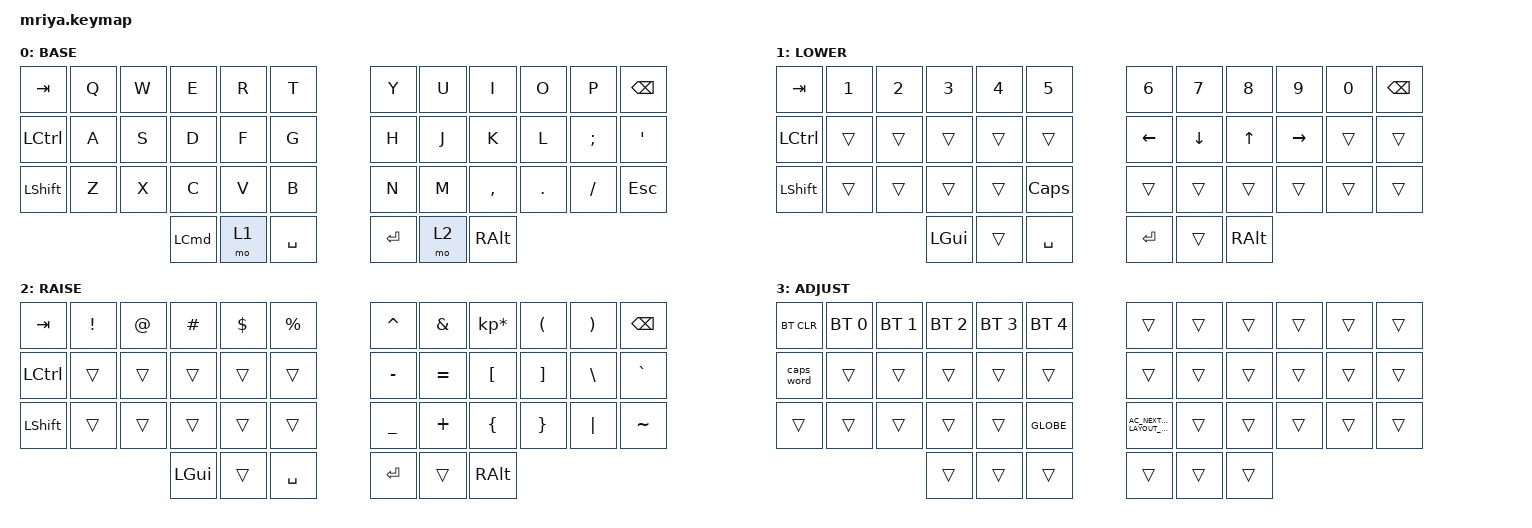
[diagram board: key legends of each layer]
/*
 * Copyright (c) 2020 The ZMK Contributors
 *
 * SPDX-License-Identifier: MIT
 */

#include <behaviors.dtsi>
#include <dt-bindings/zmk/bt.h>
#include <dt-bindings/zmk/keys.h>

#define BASE   0
#define LOWER  1
#define RAISE  2
#define ADJUST 3
#define NAVI   4

/ {
};

/ {
    combos { compatible = "zmk,combos"; };
};

/ {
    keymap {
        compatible = "zmk,keymap";

        // ▄▄▄▄▄▄▄▄▄▄▄▄▄▄▄▄▄▄▄▄▄▄▄▄▄▄▄▄▄▄▄▄▄▄▄▄▄▄▄▄▄▄▄▄▄▄▄▄▄▄▄▄▄▄▄▄▄▄▄▄▄▄▄▄▄▄▄▄▄▄▄▄▄▄▄▄▄▄▄▄▄▄▄▄▄▄▄▄▄▄▄▄▄▄▄▄▄▄▄▄▄▄▄▄▄▄▄▄▄▄▄▄▄▄

        base_layer {
            // ┌────────────────────────────────────────────┐

            label = "BASE";

            // └────────────────────────────────────────────┘
            /*
┌───────┬───────┬───────┬───────┬───────┬───────┐                   ┌───────┬───────┬───────┬───────┬───────┬───────┐
│   ]   │   Q   │   W   │   E   │   R   │   T   │                   │   Y   │   U   │   I   │   O   │   P   │   [   │
├───────┼───────┼───────┼───────┼───────┼───────┤                   ├───────┼───────┼───────┼───────┼───────┼───────┤                      
│   `   │   A   │   S   │   D   │   F   │   G   │                   │   H   │   J   │   K   │   L   │   ;   │   '   │
├───────┼───────┼───────┼───────┼───────┼───────┤                   ├───────┼───────┼───────┼───────┼───────┼───────┤
│   \   │ Z/NAV │   X   │   C   │   V   │   B   │                   │   N   │   M   │   ,   │   .   │   /   │   -   │
└───────┴───────┴───────┴───────┼───────┼───────┼───────┐   ┌───────┼───────┼───────┼───────┴───────┴───────┴───────┘
                                │ RAISE │ SPACE │ LOWER │   │ LOWER │  BKSP │ RAISE │
                                └───────┴───────┴───────┘   └───────┴───────┴───────┘   
*/

            bindings = <
&kp TAB         &kp Q  &kp W  &kp E  &kp R             &kp T                        &kp Y  &kp U          &kp I      &kp O    &kp P          &kp BACKSPACE
&kp LCTRL       &kp A  &kp S  &kp D  &kp F             &kp G                        &kp H  &kp J          &kp K      &kp L    &kp SEMICOLON  &kp SQT
&kp LEFT_SHIFT  &kp Z  &kp X  &kp C  &kp V             &kp B                        &kp N  &kp M          &kp COMMA  &kp DOT  &kp FSLH       &kp ESCAPE
                                     &kp LEFT_COMMAND  &mo 1  &kp SPACE  &kp ENTER  &mo 2  &kp RIGHT_ALT
            >;
        };

        // ▄▄▄▄▄▄▄▄▄▄▄▄▄▄▄▄▄▄▄▄▄▄▄▄▄▄▄▄▄▄▄▄▄▄▄▄▄▄▄▄▄▄▄▄▄▄▄▄▄▄▄▄▄▄▄▄▄▄▄▄▄▄▄▄▄▄▄▄▄▄▄▄▄▄▄▄▄▄▄▄▄▄▄▄▄▄▄▄▄▄▄▄▄▄▄▄▄▄▄▄▄▄▄▄▄▄▄▄▄▄▄▄▄▄

        lower_layer {
            // ┌────────────────────────────────────────────┐

            label = "LOWER";

            // └────────────────────────────────────────────┘
            /*
┌───────┬───────┬───────┬───────┬───────┬───────┐                   ┌───────┬───────┬───────┬───────┬───────┬───────┐
│ CAPS  │  F10  │  F9   │  F8   │  F7   │   ~   │                   │   !   │   @   │   #   │   $   │   %   │ RGUI  │
├───────┼───────┼───────┼───────┼───────┼───────┤                   ├───────┼───────┼───────┼───────┼───────┼───────┤                      
│ CTRL  │  F11  │  F3   │  F2   │  F1   │ MENU  │                   │   :   │   ?   │   *   │   (   │   )   │   &   │
├───────┼───────┼───────┼───────┼───────┼───────┤                   ├───────┼───────┼───────┼───────┼───────┼───────┤
│ LALT  │  F12  │  F6   │  F5   │  F4   │ LANG  │                   │   \   │   «   │   »   │   {   │   }   │   ^   │
└───────┴───────┴───────┴───────┼───────┼───────┼───────┐   ┌───────┼───────┼───────┼───────┴───────┴───────┴───────┘
                                │  ADJ  │ LSHFT │   ▼   │   │   ▼   │ RSHFT │  ADJ  │
                                └───────┴───────┴───────┘   └───────┴───────┴───────┘   
*/

            bindings = <
&kp TAB         &kp NUMBER_1  &kp NUMBER_2  &kp NUMBER_3  &kp NUMBER_4  &kp NUMBER_5                        &kp NUMBER_6    &kp NUMBER_7    &kp NUMBER_8  &kp NUMBER_9     &kp NUMBER_0  &kp BACKSPACE
&kp LCTRL       &trans        &trans        &trans        &trans        &trans                              &kp LEFT_ARROW  &kp DOWN_ARROW  &kp UP_ARROW  &kp RIGHT_ARROW  &trans        &trans
&kp LEFT_SHIFT  &trans        &trans        &trans        &trans        &kp CAPSLOCK                        &trans          &trans          &trans        &trans           &trans        &trans
                                                          &kp LEFT_GUI  &trans        &kp SPACE  &kp ENTER  &trans          &kp RIGHT_ALT
            >;
        };

        // ▄▄▄▄▄▄▄▄▄▄▄▄▄▄▄▄▄▄▄▄▄▄▄▄▄▄▄▄▄▄▄▄▄▄▄▄▄▄▄▄▄▄▄▄▄▄▄▄▄▄▄▄▄▄▄▄▄▄▄▄▄▄▄▄▄▄▄▄▄▄▄▄▄▄▄▄▄▄▄▄▄▄▄▄▄▄▄▄▄▄▄▄▄▄▄▄▄▄▄▄▄▄▄▄▄▄▄▄▄▄▄▄▄▄		

        raise_layer {
            // ┌────────────────────────────────────────────┐

            label = "RAISE";

            // └────────────────────────────────────────────┘
            /*
┌───────┬───────┬───────┬───────┬───────┬───────┐                   ┌───────┬───────┬───────┬───────┬───────┬───────┐
│ BKSP  │   *   │   9   │   8   │   7   │   +   │                   │ NEXT  │ VOLU  │ PSCRN │       │       │ RGUI  │
├───────┼───────┼───────┼───────┼───────┼───────┤                   ├───────┼───────┼───────┼───────┼───────┼───────┤                      
│ CTRL  │   /   │   3   │   2   │   1   │   0   │                   │ PLAY  │ VOLD  │       │       │       │ CTRL  │
├───────┼───────┼───────┼───────┼───────┼───────┤                   ├───────┼───────┼───────┼───────┼───────┼───────┤
│ ALT/= │   .   │   6   │   5   │   4   │   -   │                   │ PREV  │ MUTE  │       │       │       │ RALT  │
└───────┴───────┴───────┴───────┼───────┼───────┼───────┐   ┌───────┼───────┼───────┼───────┴───────┴───────┴───────┘
                                │   ▲   │ LSHFT │  ADJ  │   │  ADJ  │ RSHFT │   ▲   │
                                └───────┴───────┴───────┘   └───────┴───────┴───────┘  
*/

            bindings = <
&kp TAB         &kp EXCLAMATION  &kp AT_SIGN  &kp HASH  &kp DOLLAR    &kp PERCENT                        &kp CARET       &kp AMPERSAND  &kp KP_MULTIPLY   &kp LEFT_PARENTHESIS  &kp RIGHT_PARENTHESIS  &kp BACKSPACE
&kp LCTRL       &trans           &trans       &trans    &trans        &trans                             &kp MINUS       &kp EQUAL      &kp LEFT_BRACKET  &kp RIGHT_BRACKET     &kp BSLH               &kp GRAVE
&kp LEFT_SHIFT  &trans           &trans       &trans    &trans        &trans                             &kp UNDERSCORE  &kp PLUS       &kp LEFT_BRACE    &kp RIGHT_BRACE       &kp PIPE               &kp TILDE
                                                        &kp LEFT_GUI  &trans       &kp SPACE  &kp ENTER  &trans          &kp RIGHT_ALT
            >;
        };

        // ▄▄▄▄▄▄▄▄▄▄▄▄▄▄▄▄▄▄▄▄▄▄▄▄▄▄▄▄▄▄▄▄▄▄▄▄▄▄▄▄▄▄▄▄▄▄▄▄▄▄▄▄▄▄▄▄▄▄▄▄▄▄▄▄▄▄▄▄▄▄▄▄▄▄▄▄▄▄▄▄▄▄▄▄▄▄▄▄▄▄▄▄▄▄▄▄▄▄▄▄▄▄▄▄▄▄▄▄▄▄▄▄▄▄

        adjust_layer {
            // ┌────────────────────────────────────────────┐

            label = "ADJUST";

            // └────────────────────────────────────────────┘
            /*
┌───────┬───────┬───────┬───────┬───────┬───────┐                   ┌───────┬───────┬───────┬───────┬───────┬───────┐
│ BLDR  │ RESET │       │STUDIO │       │BT NEXT│                   │BT NEXT│   ₽   │   €   │       │       │  BLDR │
├───────┼───────┼───────┼───────┼───────┼───────┤                   ├───────┼───────┼───────┼───────┼───────┼───────┤                      
│ BTCLR │  BT0  │  BT1  │  BT2  │  BT3  │  BT4  │                   │  BT4  │  BT3  │  BT2  │  BT1  │  BT0  │ BTCLR │
├───────┼───────┼───────┼───────┼───────┼───────┤                   ├───────┼───────┼───────┼───────┼───────┼───────┤
│ CAPS  │ NUMLK │  INS  │ SLCK  │ PAUSE │BT PREV│                   │BT PREV│ PAUSE │ SLCK  │  INS  │ NUMLK │ CAPS  │
└───────┴───────┴───────┴───────┼───────┼───────┼───────┐   ┌───────┼───────┼───────┼───────┴───────┴───────┴───────┘
                                │   ▲   │ POWER │   ▼   │   │   ▼   │ POWER │   ▲   │
                                └───────┴───────┴───────┘   └───────┴───────┴───────┘
*/

            bindings = <
&bt BT_CLR  &bt BT_SEL 0  &bt BT_SEL 1  &bt BT_SEL 2  &bt BT_SEL 3  &bt BT_SEL 4                  &trans                                &trans  &trans  &trans  &trans  &trans
&caps_word  &trans        &trans        &trans        &trans        &trans                        &trans                                &trans  &trans  &trans  &trans  &trans
&trans      &trans        &trans        &trans        &trans        &kp GLOBE                     &kp C_AC_NEXT_KEYBOARD_LAYOUT_SELECT  &trans  &trans  &trans  &trans  &trans
                                                      &trans        &trans        &trans  &trans  &trans                                &trans
            >;
        };

        // ▄▄▄▄▄▄▄▄▄▄▄▄▄▄▄▄▄▄▄▄▄▄▄▄▄▄▄▄▄▄▄▄▄▄▄▄▄▄▄▄▄▄▄▄▄▄▄▄▄▄▄▄▄▄▄▄▄▄▄▄▄▄▄▄▄▄▄▄▄▄▄▄▄▄▄▄▄▄▄▄▄▄▄▄▄▄▄▄▄▄▄▄▄▄▄▄▄▄▄▄▄▄▄▄▄▄▄▄▄▄▄▄▄▄		
    };

    conditional_layers {
        compatible = "zmk,conditional-layers";

        controling {
            if-layers = <1 2>;
            then-layer = <3>;
        };
    };
};
